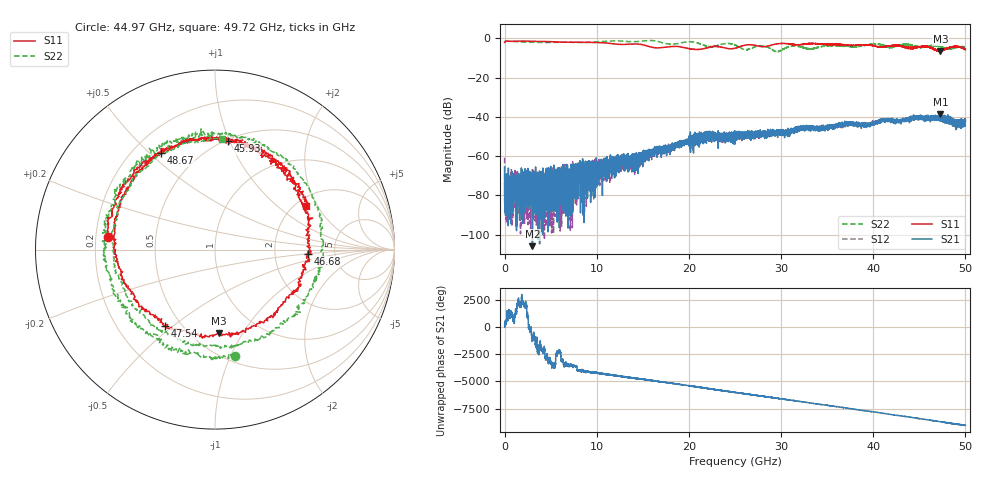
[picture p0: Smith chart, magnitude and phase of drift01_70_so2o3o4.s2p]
!Created with skrf (http://scikit-rf.org).
# Hz S RI R 50.0
!freq ReS11 ImS11 ReS21 ImS21 ReS12 ImS12 ReS22 ImS22
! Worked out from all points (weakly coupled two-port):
!   10001 points, 300 kHz to 50 GHz, reference 50 ohm
!   highest |S21| = -38.59 dB at 47.29 GHz (marker M1); lowest = -105.9 dB at 3.02 GHz (marker M2)
!   lowest |S11| = -6.6 dB at 47.28 GHz (marker M3), VSWR 2.75, Z = 33.2 - j39.6 ohm
!   |S11| at or under -10 dB: nowhere
!   |S22| runs from -6.8 to -1.0 dB; largest |S21 - S12| = 0.0037
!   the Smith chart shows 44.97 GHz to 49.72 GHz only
!   S11 on the Smith chart (normalised r, x): 44.97 GHz: 0.25, +0.06; 45.93 GHz: 0.51, +0.98; 46.68 GHz: 3.12, -0.19; 47.54 GHz: 0.41, -0.47; 48.67 GHz: 0.31, +0.54; 49.72 GHz: 2.27, +1.62
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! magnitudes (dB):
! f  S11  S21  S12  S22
! 300 kHz  -2.1  -65.6  -60.8  -1.3
! 275.3 MHz  -1.4  -75.0  -81.9  -1.4
! 3.02 GHz  -1.5  -105.9  -83.4  -2.0
! 8.335 GHz  -1.9  -71.8  -68.0  -2.1
! 16.67 GHz  -4.8  -57.7  -57.4  -1.6
! 21.82 GHz  -5.0  -50.7  -50.3  -3.7
! 25 GHz  -5.0  -49.7  -51.7  -3.4
! 26.19 GHz  -3.4  -49.1  -50.0  -5.7
! 28.09 GHz  -4.2  -49.2  -49.2  -3.8
! 29.54 GHz  -2.8  -48.0  -48.5  -6.7
! 31.3 GHz  -3.1  -47.7  -46.9  -3.9
! 33.34 GHz  -2.6  -44.9  -45.4  -5.4
! 41.67 GHz  -3.9  -41.1  -41.3  -4.5
! 44.97 GHz  -4.4  -40.5  -39.7  -4.4
! 45.93 GHz  -4.3  -41.7  -40.6  -4.1
! 46.68 GHz  -5.7  -41.2  -41.7  -3.7
! 47.28 GHz  -6.6  -40.8  -40.5  -4.2
! 47.29 GHz  -6.4  -38.6  -40.5  -4.2
! 47.54 GHz  -5.9  -40.1  -41.0  -4.4
! 48.67 GHz  -4.2  -41.3  -43.4  -5.1
! 49.72 GHz  -5.0  -41.9  -42.9  -4.2
! 50 GHz  -5.6  -41.7  -44.0  -4.2
